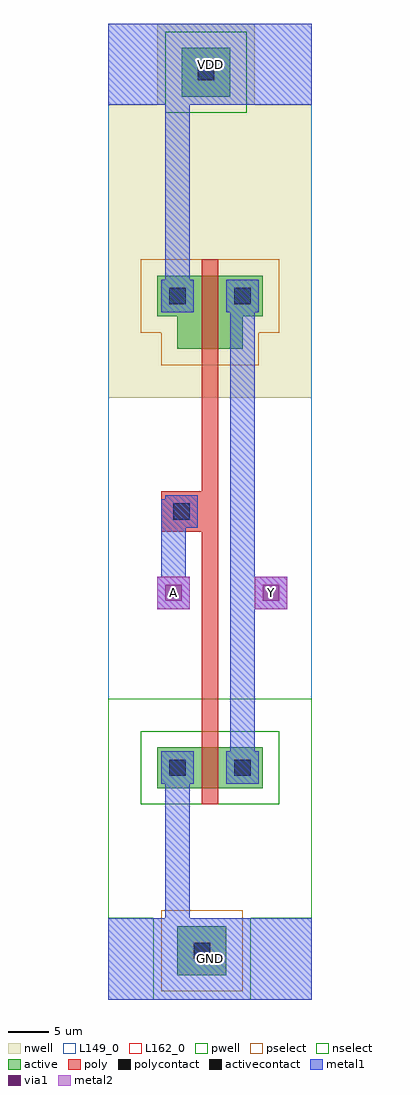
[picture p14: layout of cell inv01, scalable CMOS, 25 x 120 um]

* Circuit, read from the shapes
.subckt inv01 A GND VDD Y
M1 Y A GND GND nfet w=5u l=2u
M2 Y A VDD VDD pfet w=9u l=2u
.ends

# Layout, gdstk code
import gdstk
lib = gdstk.Library(unit=1e-6, precision=1e-09)
def R(c, l, rs):  # rectangles x0, y0, x1, y1
    for r in rs: c.add(gdstk.rectangle(r[:2], r[2:], *l))
def P(c, l, *ps):  # polygons
    for p in ps: c.add(gdstk.Polygon(p, *l))
pwell = (41, 0)
nwell = (42, 0)
active = (43, 0)
pselect = (44, 0)
nselect = (45, 0)
poly = (46, 0)
polycontact = (47, 0)
activecontact = (48, 0)
metal1 = (49, 0)
via1 = (50, 0)
metal2 = (51, 0)
L149_0 = (149, 0)
L162_0 = (162, 0)

pwell_contact = lib.new_cell('pwell_contact')
R(pwell_contact, pwell, [(-6,-6,6,5)])
R(pwell_contact, active, [(-3,-3,3,3)])
R(pwell_contact, pselect, [(-5,-5,5,5)])
R(pwell_contact, activecontact, [(-1,-1,1,1)])

nwell_contact = lib.new_cell('nwell_contact')
R(nwell_contact, nwell, [(-6,-5,6,6)])
R(nwell_contact, active, [(-3,-3,3,3)])
R(nwell_contact, nselect, [(-5,-5,5,5)])
R(nwell_contact, activecontact, [(-1,-1,1,1)])

via = lib.new_cell('via')
R(via, metal1, [(-2,-2,2,2)])
R(via, via1, [(-1,-1,1,1)])
R(via, metal2, [(-2,-2,2,2)])

inv01 = lib.new_cell('inv01')
R(inv01, pwell, [(0,10,25,20), (0,10,25,37), (0,20,25,37)])
R(inv01, nwell, [(0,74,25,110), (0,95,25,110)])
P(inv01, nwell, [(0,78),(2.5,78),(2.5,74),(22.5,74),(22.5,78),(25,78),(25,95),(0,95)])
R(inv01, active, [(6,26,19,31)])
P(inv01, active, [(6,84),(8.5,84),(8.5,80),(16.5,80),(16.5,84),(19,84),(19,89),(6,89)])
P(inv01, pselect, [(4,82),(6.5,82),(6.5,78),(18.5,78),(18.5,82),(21,82),(21,91),(4,91)])
R(inv01, nselect, [(4,24,21,33)])
R(inv01, poly, [(11.5,24,13.5,26), (11.5,26,13.5,31), (11.5,31,13.5,33), (6.5,57.5,11.5,62.5), (11.5,78,13.5,80), (11.5,80,13.5,89), (11.5,89,13.5,91)])
R(inv01, polycontact, [(8,59,10,61)])
R(inv01, activecontact, [(7.5,27.5,9.5,29.5), (15.5,27.5,17.5,29.5), (7.5,85.5,9.5,87.5), (15.5,85.5,17.5,87.5)])
R(inv01, metal1, [(0,0,25,10), (0,0,25,10), (6.5,26.5,10.5,30.5), (14.5,26.5,18.5,30.5), (7,58,11,62), (6.5,84.5,10.5,88.5), (14.5,84.5,18.5,88.5), (0,110,25,120), (0,110,25,120)])
R(inv01, metal2, [(6,48,10,52), (18,48,22,52)])
R(inv01, L149_0, [(0,0,25,10), (0,0,25,120), (7,58,11,62), (0,110,25,120)])
R(inv01, L162_0, [(6,48,10,52), (18,48,22,52)])
inv01.add(gdstk.FlexPath([(8.5,28.5),(8.5,9)], 3, ends="flush", simple_path=True, layer=149, datatype=0))  # L149_0
inv01.add(gdstk.FlexPath([(8.5,86.5),(8.5,110.5)], 3, ends="flush", simple_path=True, layer=149, datatype=0))  # L149_0
inv01.add(gdstk.FlexPath([(16.5,86),(16.5,28)], 3, ends="flush", simple_path=True, layer=149, datatype=0))  # L149_0
inv01.add(gdstk.FlexPath([(9,60),(8,60),(8,50)], 3, ends="flush", simple_path=True, layer=149, datatype=0))  # L149_0
inv01.add(gdstk.FlexPath([(12.5,78),(12.5,33)], 2, ends="flush", simple_path=True, layer=46, datatype=0))  # poly
inv01.add(gdstk.FlexPath([(8.5,28.5),(8.5,9)], 3, ends="flush", simple_path=True, layer=49, datatype=0))  # metal1
inv01.add(gdstk.FlexPath([(8.5,86.5),(8.5,110.5)], 3, ends="flush", simple_path=True, layer=49, datatype=0))  # metal1
inv01.add(gdstk.FlexPath([(16.5,86),(16.5,28)], 3, ends="flush", simple_path=True, layer=49, datatype=0))  # metal1
inv01.add(gdstk.FlexPath([(9,60),(8,60),(8,50)], 3, ends="flush", simple_path=True, layer=49, datatype=0))  # metal1
inv01.add(gdstk.Reference(pwell_contact, (11.5,6)))
inv01.add(gdstk.Reference(nwell_contact, (12,114)))
inv01.add(gdstk.Reference(via, (20,50)))
inv01.add(gdstk.Reference(via, (8,50)))
inv01.add(gdstk.Label('Y', (20,50), layer=3, texttype=0))
inv01.add(gdstk.Label('A', (8,50), layer=3, texttype=0))
inv01.add(gdstk.Label('GND', (12.5,5), layer=2, texttype=0))
inv01.add(gdstk.Label('VDD', (12.5,115), layer=2, texttype=0))

lib.write_gds('inv01.gds')
